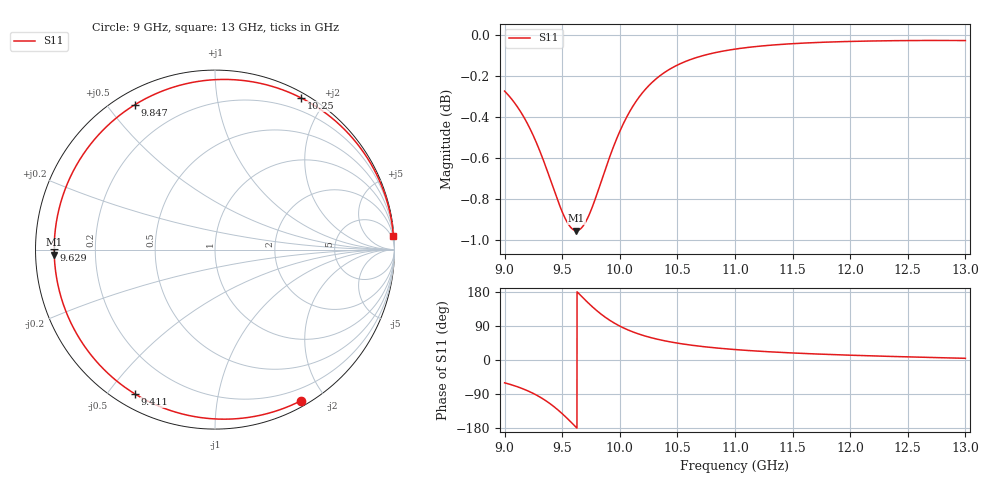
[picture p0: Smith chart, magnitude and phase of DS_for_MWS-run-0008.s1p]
! TOUCHSTONE file generated by CST DESIGN STUDIO
! Date and time: Tue Feb  4 17:08:15 2025
! Project name: C:\Work\MatlabApps\UnitCellOptimizationMatlab\CST\unitcell.cst
! Tree item: Tasks\Sweep1\SPara1\S-Parameters
! Header version: 2024
! Port assignment regex: !\s*Touchstone port\s*([0-9]+)\s*=\s*(CST MWS port|CST DES external port|CST DES block port)\s*(.+)\s* \(\"(.*)\"\)(\s*mode\s*([0-9]+))?.*
! Touchstone port assignment:
! Touchstone port 1 = CST DES external port 1 ("")
# GHz S MA R 50
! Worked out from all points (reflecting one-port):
!   4001 points, 9 GHz to 13 GHz, reference 50 ohm
!   lowest |S11| = -1.0 dB at 9.623 GHz (marker M1), VSWR 18.24, Z = 2.74 - j0.783 ohm
!   phase of S11 starts at -60 deg and turns -295 deg over the sweep
!   S11 on the Smith chart (normalised r, x): 9 GHz: 0.06, -1.72; 9.411 GHz: 0.06, -0.59; 9.629 GHz: 0.05, +0.00; 9.847 GHz: 0.05, +0.59; 10.25 GHz: 0.06, +1.72; 13 GHz: 1, +26
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9  0.9688 -60.2
9.055  0.965 -65.0
9.128  0.9588 -72.5
9.192  0.9521 -80.2
9.254  0.9443 -89.0
9.338  0.9318 -103.6
9.411  0.9196 -119.0
9.456  0.9122 -129.9
9.5  0.9055 -141.6
9.565  0.8983 -160.4
9.623  0.8961 -178.2
9.629  0.8961 179.9
9.674  0.8978 166.1
9.722  0.9025 151.7
9.785  0.9118 134.2
9.847  0.9225 118.8
9.918  0.9348 103.8
10  0.9472 89.5
10.121  0.9614 73.3
10.253  0.9719 60.4
10.368  0.9781 52.0
10.5  0.9831 44.5
10.72  0.9882 35.5
11  0.9919 27.5
11.5  0.9949 18.5
12  0.9961 12.7
12.5  0.9966 8.2
13  0.9966 4.5
